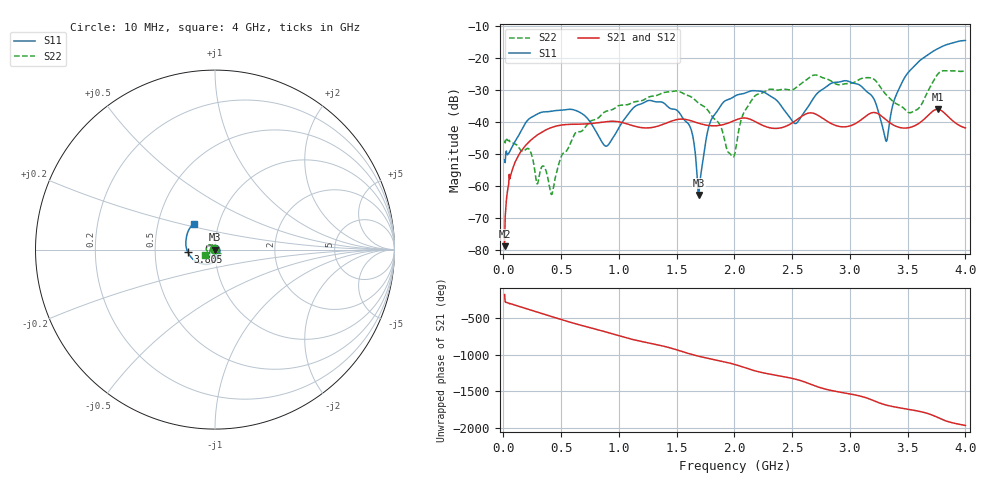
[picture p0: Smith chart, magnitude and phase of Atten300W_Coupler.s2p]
!Agilent Technologies,N5242A,MY48420904,A.09.90.06
!Agilent N5242A: A.09.90.06
!Date: Sunday, June 02, 2013 20:09:17
!Correction: S11(Full 2 Port(1,4))
!S41(Full 2 Port(1,4))
!S14(Full 2 Port(1,4))
!S44(Full 2 Port(1,4))
!S2P File: Measurements: S11, S41, S14, S44:
# Hz S  dB  R 50
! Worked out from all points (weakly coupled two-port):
!   799 points, 10 MHz to 4 GHz, reference 50 ohm
!   highest |S21| = -36.04 dB at 3.76 GHz (marker M1); lowest = -78.8 dB at 10 MHz (marker M2)
!   lowest |S11| = -62.8 dB at 1.69 GHz (marker M3), VSWR 1.00, Z = 49.9 - j6.71e-05 ohm
!   |S11| at or under -10 dB: start of sweep to end of sweep
!   |S22| runs from -62.7 to -24.0 dB; largest |S21 - S12| = 0.00043
!   S11 on the Smith chart (normalised r, x): 10 MHz: 1.00, +0.00; 3.805 GHz: 0.74, -0.02; 4 GHz: 0.76, +0.23
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1e7  -51.84 151.4  -78.78 -175.9  -72.73 90.4  -45.89 169.5
4.5e7  -49.78 123.1  -59.48 66.7  -59.46 67.0  -45.84 159.8
1.1e8  -45.50 91.0  -51.85 34.6  -51.87 34.3  -47.01 140.5
4.15e8  -36.66 5.5  -41.75 -116.3  -41.74 -116.3  -62.66 62.7
5.05e8  -36.34 -9.3  -40.95 -160.9  -40.96 -160.8  -50.32 110.3
6.75e8  -37.29 -55.2  -40.68 122.1  -40.69 122.2  -42.92 91.1
8.9e8  -47.57 171.5  -39.90 30.5  -39.90 30.5  -36.66 43.8
1.13e9  -35.43 50.1  -41.27 -75.1  -41.27 -75.0  -33.76 -4.9
1.34e9  -33.74 -17.3  -41.29 -145.3  -41.29 -145.3  -31.56 -40.1
1.61e9  -41.06 -86.9  -39.48 93.7  -39.49 93.7  -31.90 -111.5
1.69e9  -62.82 -179.9  -40.40 59.9  -40.41 59.9  -34.13 -128.9
1.795e9  -39.66 37.0  -41.18 22.6  -41.19 22.6  -37.68 -148.0
2.005e9  -31.91 -29.7  -39.47 -53.6  -39.48 -53.6  -49.68 49.5
2.175e9  -30.25 -76.7  -39.81 -138.7  -39.81 -138.6  -31.97 -43.1
2.525e9  -40.51 103.2  -39.71 107.2  -39.71 107.2  -29.52 -99.3
2.67e9  -33.44 2.4  -37.19 30.5  -37.19 30.5  -25.62 -120.7
3.07e9  -28.23 -140.2  -40.02 -118.6  -40.03 -118.5  -26.95 -170.5
3.335e9  -42.32 -3.4  -39.98 103.1  -39.97 103.2  -32.28 122.7
3.545e9  -23.02 -96.8  -41.44 42.5  -41.43 42.5  -36.81 62.3
3.76e9  -17.15 -161.1  -36.04 -58.8  -36.04 -58.7  -25.11 -67.6
3.805e9  -16.33 -174.9  -36.79 -90.2  -36.79 -90.2  -24.05 -93.7
4e9  -14.56 129.2  -41.88 -167.8  -41.87 -167.7  -24.09 -150.8
